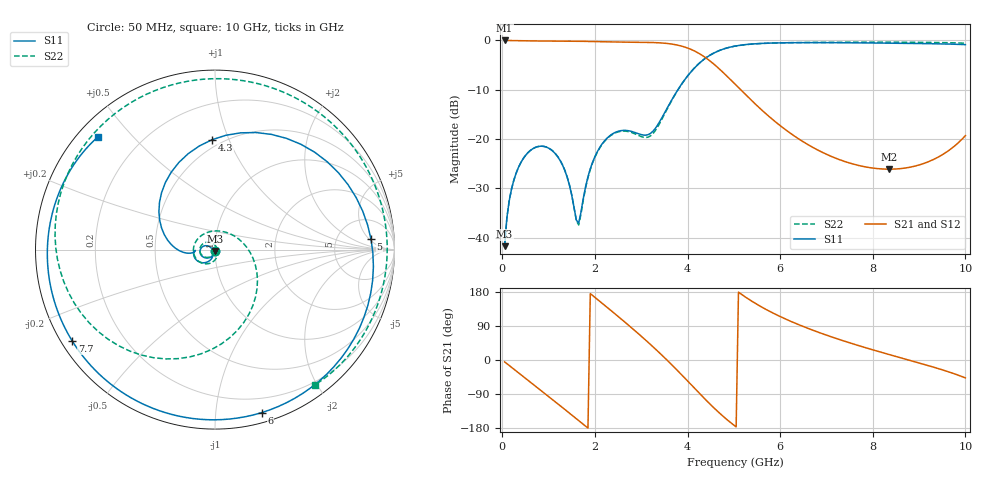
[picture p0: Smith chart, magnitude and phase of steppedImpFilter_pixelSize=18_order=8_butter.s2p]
! freq	dB(S11)	phase(S11)	dB(S12)	phase(S12)
!  dB(S21)	phase(S21)	dB(S22)	phase(S22)
!S-par simulation data
#  GHz  S  DB  R 50
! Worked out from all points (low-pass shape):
!   200 points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, 50 MHz to 10 GHz, reference 50 ohm
!   highest |S21| = -0.01 dB at 50 MHz (marker M1); lowest = -26.1 dB at 8.35 GHz (marker M2)
!   |S21| within 3 dB of the highest: start of sweep to 4.313 GHz
!   lowest |S11| = -41.7 dB at 50 MHz (marker M3), VSWR 1.02, Z = 50 - j0.822 ohm
!   |S11| at or under -10 dB: start of sweep to 3.791 GHz
!   |S22| runs from -41.7 to -0.4 dB; largest |S21 - S12| = 0
!   S11 on the Smith chart (normalised r, x): 50 MHz: 1.00, -0.02; 4.3 GHz: 0.44, +0.87; 5 GHz: 12, +6; 6 GHz: 0.08, -1.32; 7.7 GHz: 0.03, -0.29; 10 GHz: 0.06, +0.40
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0.05  -41.69 -92.5  -0.01 -4.9  -0.01 -4.9  -41.69 -92.9
0.15  -32.46 -103.4  -0.03 -14.6  -0.03 -14.6  -32.47 -104.7
0.3  -26.87 -118.1  -0.05 -29.1  -0.05 -29.1  -26.88 -120.8
0.9  -21.49 -172.6  -0.13 -86.8  -0.13 -86.8  -21.47 176.8
1.3  -25.25 156.3  -0.15 -125.5  -0.15 -125.5  -25.21 130.5
1.65  -36.98 -148.9  -0.17 -159.9  -0.17 -159.9  -37.39 8.6
1.75  -31.97 -113.4  -0.19 -169.8  -0.19 -169.8  -32.27 -49.0
2.1  -21.75 -122.0  -0.25 155.3  -0.25 155.3  -21.86 -109.8
2.65  -18.23 -163.5  -0.35 99.7  -0.35 99.7  -18.38 -178.7
3  -19.09 -177.5  -0.38 62.9  -0.38 62.9  -19.48 121.7
3.4  -16.44 -172.3  -0.49 18.3  -0.49 18.3  -16.78 23.9
3.95  -7.83 139.6  -1.37 -48.8  -1.37 -48.8  -7.83 -62.2
4.3  -4.26 91.5  -2.93 -93.5  -2.93 -93.5  -4.23 -103.3
4.6  -2.41 50.7  -5.06 -129.9  -5.06 -129.9  -2.39 -135.2
5  -1.20 3.9  -8.62 -171.8  -8.62 -171.8  -1.20 -172.4
5.05  -1.11 -1.3  -9.09 -176.5  -9.09 -176.5  -1.11 -176.6
5.5  -0.66 -40.8  -13.22 146.9  -13.22 146.9  -0.67 149.3
6  -0.49 -74.0  -17.27 114.7  -17.27 114.7  -0.49 116.9
6.7  -0.45 -109.1  -21.65 78.9  -21.65 78.9  -0.40 77.8
7.7  -0.50 -147.3  -25.35 37.8  -25.35 37.8  -0.36 30.5
8.35  -0.56 -168.8  -26.09 14.5  -26.09 14.5  -0.36 4.1
10  -0.86 136.3  -19.30 -47.3  -19.30 -47.3  -0.57 -53.5
